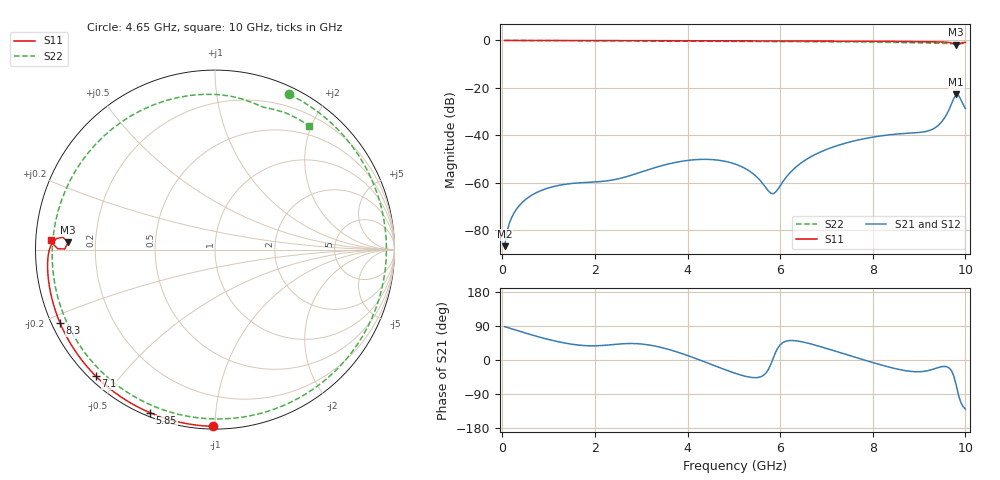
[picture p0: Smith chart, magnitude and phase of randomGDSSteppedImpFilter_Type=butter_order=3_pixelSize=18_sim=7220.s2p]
! freq	dB(S11)	phase(S11)	dB(S12)	phase(S12)
!  dB(S21)	phase(S21)	dB(S22)	phase(S22)
!S-par simulation data
#  GHz  S  DB  R 50
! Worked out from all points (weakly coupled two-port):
!   200 points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, 50 MHz to 10 GHz, reference 50 ohm
!   highest |S21| = -22.77 dB at 9.8 GHz (marker M1); lowest = -86.7 dB at 50 MHz (marker M2)
!   lowest |S11| = -1.7 dB at 9.8 GHz (marker M3), VSWR 10.05, Z = 4.98 + j1.25 ohm
!   |S11| at or under -10 dB: nowhere
!   |S22| runs from -1.5 to 0.0 dB; largest |S21 - S12| = 0
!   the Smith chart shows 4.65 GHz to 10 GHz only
!   S11 on the Smith chart (normalised r, x): 4.65 GHz: 0.02, -0.99; 5.85 GHz: 0.02, -0.68; 7.1 GHz: 0.02, -0.43; 8.3 GHz: 0.02, -0.22; 10 GHz: 0.05, +0.03
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0.05  -0.00 -1.0  -86.71 88.1  -86.71 88.1  -0.00 -2.9
0.35  -0.01 -7.2  -70.00 76.6  -70.00 76.6  -0.02 -19.8
0.65  -0.02 -13.4  -65.06 65.7  -65.06 65.7  -0.04 -36.7
1.2  -0.03 -24.6  -61.16 48.4  -61.16 48.4  -0.09 -67.6
1.75  -0.05 -35.7  -59.91 38.3  -59.91 38.3  -0.13 -98.7
2.7  -0.07 -54.3  -57.31 43.4  -57.31 43.4  -0.20 -155.0
3.4  -0.09 -67.7  -53.00 34.0  -53.00 34.0  -0.26 158.9
4.1  -0.11 -80.6  -50.36 7.5  -50.36 7.5  -0.33 107.4
4.65  -0.13 -90.6  -50.44 -18.1  -50.44 -18.1  -0.37 64.4
5.05  -0.15 -97.7  -52.25 -35.9  -52.25 -35.9  -0.38 33.4
5.45  -0.17 -104.7  -56.72 -46.6  -56.72 -46.6  -0.40 3.9
5.85  -0.19 -111.7  -64.60 4.9  -64.60 4.9  -0.41 -23.5
6.7  -0.25 -126.5  -48.63 41.2  -48.63 41.2  -0.47 -75.2
7.1  -0.28 -133.4  -45.21 26.8  -45.21 26.8  -0.52 -97.5
7.7  -0.33 -143.9  -41.89 4.2  -41.89 4.2  -0.63 -130.8
8.3  -0.40 -154.6  -39.90 -17.1  -39.90 -17.1  -0.79 -166.6
8.35  -0.40 -155.5  -39.78 -18.7  -39.78 -18.7  -0.80 -169.9
8.85  -0.47 -164.9  -39.00 -30.4  -39.00 -30.4  -0.97 154.9
9.35  -0.57 -175.0  -36.76 -22.4  -36.76 -22.4  -1.15 112.9
9.55  -0.69 -179.8  -32.64 -16.9  -32.64 -16.9  -1.23 94.2
9.8  -1.73 177.1  -22.77 -65.6  -22.77 -65.6  -1.54 71.4
10  -0.79 176.6  -28.71 -129.5  -28.71 -129.5  -1.25 52.6
